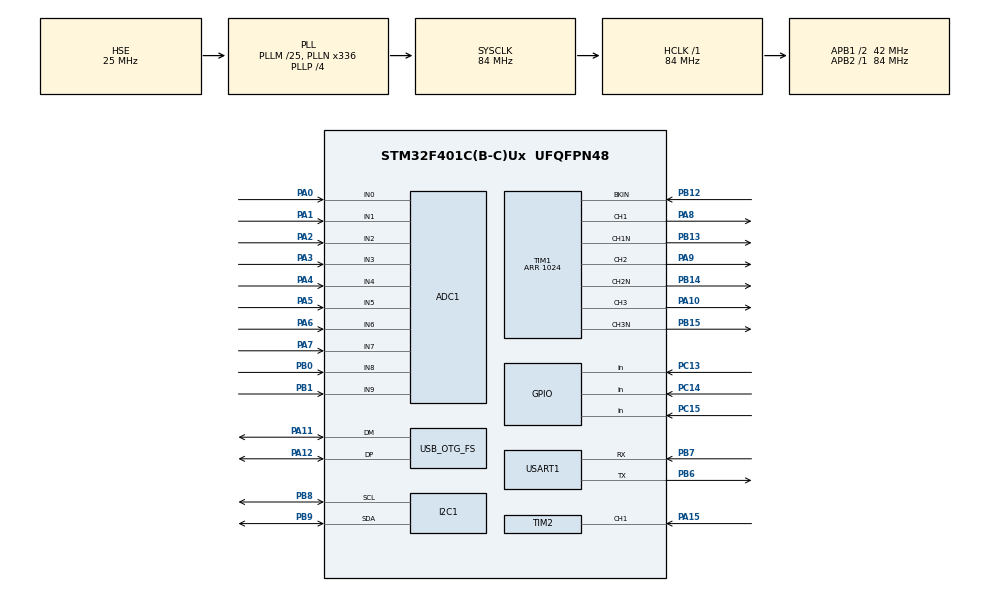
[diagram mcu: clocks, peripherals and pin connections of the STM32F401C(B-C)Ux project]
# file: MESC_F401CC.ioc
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ADC1.Channel-0\#ChannelRegularConversion=ADC_CHANNEL_5
ADC1.Channel-1\#ChannelInjectedConversion=ADC_CHANNEL_2
ADC1.Channel-2\#ChannelInjectedConversion=ADC_CHANNEL_3
ADC1.Channel-3\#ChannelInjectedConversion=ADC_CHANNEL_4
ADC1.Channel-4\#ChannelInjectedConversion=ADC_CHANNEL_1
ADC1.Channel-5\#ChannelRegularConversion=ADC_CHANNEL_6
ADC1.Channel-6\#ChannelRegularConversion=ADC_CHANNEL_8
ADC1.Channel-7\#ChannelRegularConversion=ADC_CHANNEL_0
ADC1.Channel-8\#ChannelRegularConversion=ADC_CHANNEL_8
ADC1.Channel-9\#ChannelRegularConversion=ADC_CHANNEL_9
ADC1.DMAContinuousRequests=ENABLE
ADC1.EOCSelection=ADC_EOC_SEQ_CONV
ADC1.EnableAnalogWatchDog=true
ADC1.ExternalTrigConv=ADC_SOFTWARE_START
ADC1.ExternalTrigInjecConv=ADC_EXTERNALTRIGINJECCONV_T1_TRGO
ADC1.ExternalTrigInjecConvEdge=ADC_EXTERNALTRIGINJECCONVEDGE_FALLING
ADC1.HighThreshold=4000
ADC1.ITMode=ENABLE
ADC1.InjNumberOfConversion=4
ADC1.InjectedOffset-1\#ChannelInjectedConversion=0
ADC1.InjectedOffset-2\#ChannelInjectedConversion=0
ADC1.InjectedOffset-3\#ChannelInjectedConversion=0
ADC1.InjectedOffset-4\#ChannelInjectedConversion=0
ADC1.InjectedRank-1\#ChannelInjectedConversion=1
ADC1.InjectedRank-2\#ChannelInjectedConversion=2
ADC1.InjectedRank-3\#ChannelInjectedConversion=3
ADC1.InjectedRank-4\#ChannelInjectedConversion=4
ADC1.LowThreshold=0
ADC1.NbrOfConversion=6
ADC1.NbrOfConversionFlag=1
ADC1.Rank-0\#ChannelRegularConversion=1
ADC1.Rank-5\#ChannelRegularConversion=2
ADC1.Rank-6\#ChannelRegularConversion=3
ADC1.Rank-7\#ChannelRegularConversion=4
ADC1.Rank-8\#ChannelRegularConversion=5
ADC1.Rank-9\#ChannelRegularConversion=6
ADC1.SamplingTime-0\#ChannelRegularConversion=ADC_SAMPLETIME_15CYCLES
ADC1.SamplingTime-1\#ChannelInjectedConversion=ADC_SAMPLETIME_3CYCLES
ADC1.SamplingTime-2\#ChannelInjectedConversion=ADC_SAMPLETIME_3CYCLES
ADC1.SamplingTime-3\#ChannelInjectedConversion=ADC_SAMPLETIME_3CYCLES
ADC1.SamplingTime-4\#ChannelInjectedConversion=ADC_SAMPLETIME_15CYCLES
ADC1.SamplingTime-5\#ChannelRegularConversion=ADC_SAMPLETIME_15CYCLES
ADC1.SamplingTime-6\#ChannelRegularConversion=ADC_SAMPLETIME_15CYCLES
ADC1.SamplingTime-7\#ChannelRegularConversion=ADC_SAMPLETIME_15CYCLES
ADC1.SamplingTime-8\#ChannelRegularConversion=ADC_SAMPLETIME_15CYCLES
ADC1.SamplingTime-9\#ChannelRegularConversion=ADC_SAMPLETIME_15CYCLES
ADC1.ScanConvMode=ENABLE
ADC1.WatchdogMode=ADC_ANALOGWATCHDOG_ALL_INJEC
ADC1.master=1
Dma.ADC1.0.Direction=DMA_PERIPH_TO_MEMORY
Dma.ADC1.0.FIFOMode=DMA_FIFOMODE_DISABLE
Dma.ADC1.0.Instance=DMA2_Stream0
Dma.ADC1.0.MemDataAlignment=DMA_MDATAALIGN_WORD
Dma.ADC1.0.MemInc=DMA_MINC_ENABLE
Dma.ADC1.0.Mode=DMA_CIRCULAR
Dma.ADC1.0.PeriphDataAlignment=DMA_PDATAALIGN_WORD
Dma.ADC1.0.PeriphInc=DMA_PINC_DISABLE
Dma.ADC1.0.Priority=DMA_PRIORITY_LOW
Dma.Request0=ADC1
Dma.Request1=USART1_TX
Dma.USART1_TX.1.Direction=DMA_MEMORY_TO_PERIPH
Dma.USART1_TX.1.FIFOMode=DMA_FIFOMODE_DISABLE
Dma.USART1_TX.1.Instance=DMA2_Stream7
Dma.USART1_TX.1.MemDataAlignment=DMA_MDATAALIGN_BYTE
Dma.USART1_TX.1.MemInc=DMA_MINC_ENABLE
Dma.USART1_TX.1.Mode=DMA_NORMAL
Dma.USART1_TX.1.PeriphDataAlignment=DMA_PDATAALIGN_BYTE
Dma.USART1_TX.1.PeriphInc=DMA_PINC_DISABLE
Dma.USART1_TX.1.Priority=DMA_PRIORITY_LOW
FREERTOS.Tasks01=defaultTask,24,128,StartDefaultTask,Default,NULL,Dynamic,NULL,NULL
FREERTOS.configENABLE_FPU=1
FREERTOS.configTOTAL_HEAP_SIZE=32768
FREERTOS.configUSE_NEWLIB_REENTRANT=1
Mcu.Family=STM32F4
Mcu.Name=STM32F401C(B-C)Ux
Mcu.Package=UFQFPN48
NVIC.ADC_IRQn=true\:5\:0\:false\:false\:true\:true\:true\:false\:true
NVIC.OTG_FS_IRQn=true\:5\:0\:true\:false\:true\:true\:false\:true\:true
NVIC.PriorityGroup=NVIC_PRIORITYGROUP_4
NVIC.TIM1_BRK_TIM9_IRQn=true\:15\:0\:false\:false\:true\:false\:false\:true\:true
NVIC.TIM1_UP_TIM10_IRQn=true\:1\:0\:true\:false\:true\:false\:true\:false\:true
NVIC.TIM2_IRQn=true\:2\:0\:true\:false\:true\:false\:true\:true\:true
NVIC.TimeBase=TIM1_BRK_TIM9_IRQn
NVIC.TimeBaseIP=TIM9
NVIC.USART1_IRQn=true\:5\:0\:true\:false\:true\:true\:true\:false\:true
PA0-WKUP.Signal=ADCx_IN0
PA1.Signal=ADCx_IN1
PA10.Signal=S_TIM1_CH3
PA11.Mode=Device_Only
PA11.Signal=USB_OTG_FS_DM
PA12.Mode=Device_Only
PA12.Signal=USB_OTG_FS_DP
PA13.Mode=Serial_Wire
PA13.Signal=SYS_JTMS-SWDIO
PA14.Mode=Serial_Wire
PA14.Signal=SYS_JTCK-SWCLK
PA15.Signal=S_TIM2_CH1_ETR
PA2.Signal=ADCx_IN2
PA3.Signal=ADCx_IN3
PA4.Signal=ADCx_IN4
PA5.Signal=ADCx_IN5
PA6.Signal=ADCx_IN6
PA7.Signal=ADCx_IN7
PA8.Signal=S_TIM1_CH1
PA9.Signal=S_TIM1_CH2
PB0.Signal=ADCx_IN8
PB1.Signal=ADCx_IN9
PB12.Mode=Activate-Break-Input
PB12.Signal=TIM1_BKIN
PB13.Mode=PWM Generation1 CH1 CH1N
PB13.Signal=TIM1_CH1N
PB14.Mode=PWM Generation2 CH2 CH2N
PB14.Signal=TIM1_CH2N
PB15.Mode=PWM Generation3 CH3 CH3N
PB15.Signal=TIM1_CH3N
PB6.Mode=Asynchronous
PB6.Signal=USART1_TX
PB7.Mode=Asynchronous
PB7.Signal=USART1_RX
PB8.Mode=I2C
PB8.Signal=I2C1_SCL
PB9.Mode=I2C
PB9.Signal=I2C1_SDA
PC13-ANTI_TAMP.GPIO_PuPd=GPIO_PULLUP
PC13-ANTI_TAMP.Signal=GPIO_Input
PC14-OSC32_IN.GPIO_PuPd=GPIO_PULLUP
PC14-OSC32_IN.Signal=GPIO_Input
PC15-OSC32_OUT.GPIO_PuPd=GPIO_PULLUP
PC15-OSC32_OUT.Signal=GPIO_Input
PH0\ -\ OSC_IN.Mode=HSE-External-Oscillator
PH0\ -\ OSC_IN.Signal=RCC_OSC_IN
PH1\ -\ OSC_OUT.Mode=HSE-External-Oscillator
PH1\ -\ OSC_OUT.Signal=RCC_OSC_OUT
ProjectManager.HeapSize=0x200
ProjectManager.StackSize=0x400
ProjectManager.TargetToolchain=STM32CubeIDE
RCC.48MHZClocksFreq_Value=48000000
RCC.AHBFreq_Value=84000000
RCC.APB1CLKDivider=RCC_HCLK_DIV2
RCC.APB1Freq_Value=42000000
RCC.APB1TimFreq_Value=84000000
RCC.APB2Freq_Value=84000000
RCC.APB2TimFreq_Value=84000000
RCC.CortexFreq_Value=84000000
RCC.HCLKFreq_Value=84000000
RCC.HSE_VALUE=25000000
RCC.HSI_VALUE=16000000
RCC.LSE_VALUE=32768
RCC.PLLM=25
RCC.PLLN=336
RCC.PLLP=RCC_PLLP_DIV4
RCC.PLLQ=7
RCC.SYSCLKFreq_VALUE=84000000
RCC.SYSCLKSource=RCC_SYSCLKSOURCE_PLLCLK
RCC.VCOOutputFreq_Value=336000000
SH.ADCx_IN0.0=ADC1_IN0,IN0
SH.ADCx_IN1.0=ADC1_IN1,IN1
SH.ADCx_IN2.0=ADC1_IN2,IN2
SH.ADCx_IN3.0=ADC1_IN3,IN3
SH.ADCx_IN4.0=ADC1_IN4,IN4
SH.ADCx_IN5.0=ADC1_IN5,IN5
SH.ADCx_IN6.0=ADC1_IN6,IN6
SH.ADCx_IN7.0=ADC1_IN7,IN7
SH.ADCx_IN8.0=ADC1_IN8,IN8
SH.ADCx_IN9.0=ADC1_IN9,IN9
SH.S_TIM1_CH1.0=TIM1_CH1,PWM Generation1 CH1 CH1N
SH.S_TIM1_CH2.0=TIM1_CH2,PWM Generation2 CH2 CH2N
SH.S_TIM1_CH3.0=TIM1_CH3,PWM Generation3 CH3 CH3N
SH.S_TIM2_CH1_ETR.0=TIM2_CH1,Input_Capture1_from_TI1
SH.S_TIM2_CH1_ETR.1=TIM2_CH1,TriggerSource_TI1FP1
TIM1.BreakPolarity=TIM_BREAKPOLARITY_LOW
TIM1.Channel-PWM\ Generation1\ CH1\ CH1N=TIM_CHANNEL_1
TIM1.Channel-PWM\ Generation2\ CH2\ CH2N=TIM_CHANNEL_2
TIM1.Channel-PWM\ Generation3\ CH3\ CH3N=TIM_CHANNEL_3
TIM1.Channel-PWM\ Generation4\ No\ Output=TIM_CHANNEL_4
TIM1.CounterMode=TIM_COUNTERMODE_CENTERALIGNED1
TIM1.DeadTime=80
TIM1.Period=1024
TIM1.Pulse-PWM\ Generation1\ CH1\ CH1N=512
TIM1.Pulse-PWM\ Generation2\ CH2\ CH2N=512
TIM1.Pulse-PWM\ Generation3\ CH3\ CH3N=512
TIM1.Pulse-PWM\ Generation4\ No\ Output=1023
TIM1.TIM_MasterOutputTrigger=TIM_TRGO_OC4REF
TIM2.Channel-Input_Capture1_from_TI1=TIM_CHANNEL_1
TIM2.Channel-Input_Capture2_from_TI1_63=TIM_CHANNEL_2
TIM2.ICPolarity_CH2=TIM_INPUTCHANNELPOLARITY_FALLING
TIM2.Period=50000
TIM2.Prescaler=83
USART1.VirtualMode=VM_ASYNC
USB_DEVICE.CLASS_NAME_FS=CDC
USB_DEVICE.VirtualMode=Cdc
USB_DEVICE.VirtualModeFS=Cdc_FS
USB_OTG_FS.VirtualMode=Device_Only
VP_FREERTOS_VS_CMSIS_V2.Mode=CMSIS_V2
VP_SYS_VS_tim9.Mode=TIM9
VP_TIM10_VS_ClockSourceINT.Mode=Enable_Timer
VP_TIM1_VS_no_output4.Mode=PWM Generation4 No Output
VP_TIM2_VS_ControllerModeReset.Mode=Reset Mode
VP_TIM2_VS_indirect_ch1.Mode=Input_Capture2_from_TI1_63
VP_USB_DEVICE_VS_USB_DEVICE_CDC_FS.Mode=CDC_FS
board=custom

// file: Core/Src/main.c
/* USER CODE BEGIN Header */
/**
  ******************************************************************************
  * @file           : main.c
  * @brief          : Main program body
  ******************************************************************************
  * @attention
  *
  * Copyright (c) 2022 STMicroelectronics.
  * All rights reserved.
  *
  * This software is licensed under terms that can be found in the LICENSE file
  * in the root directory of this software component.
  * If no LICENSE file comes with this software, it is provided AS-IS.
  *
  ******************************************************************************
  */
/* USER CODE END Header */
#include "main.h"
#include "cmsis_os.h"
#include "usb_device.h"

/* USER CODE BEGIN Includes */
#include "MESCmotor.h"
#include "MESCprofile.h"

#ifdef RTOS
#include "init.h"
#endif
/* USER CODE END Includes */

 ADC_HandleTypeDef hadc1;
DMA_HandleTypeDef hdma_adc1;

I2C_HandleTypeDef hi2c1;

TIM_HandleTypeDef htim1;
TIM_HandleTypeDef htim2;
TIM_HandleTypeDef htim10;

UART_HandleTypeDef huart1;
DMA_HandleTypeDef hdma_usart1_tx;

/* Definitions for defaultTask */
osThreadId_t defaultTaskHandle;
const osThreadAttr_t defaultTask_attributes = {
  .name = "defaultTask",
  .stack_size = 128 * 4,
  .priority = (osPriority_t) osPriorityNormal,
};

void SystemClock_Config(void);
static void MX_GPIO_Init(void);
static void MX_DMA_Init(void);
static void MX_ADC1_Init(void);
static void MX_TIM1_Init(void);
static void MX_TIM2_Init(void);
static void MX_USART1_UART_Init(void);
static void MX_TIM10_Init(void);
static void MX_I2C1_Init(void);
void StartDefaultTask(void *argument);

int main(void)
{

  /* MCU Configuration--------------------------------------------------------*/

  /* Reset of all peripherals, Initializes the Flash interface and the Systick. */
  HAL_Init();

  /* Configure the system clock */
  SystemClock_Config();

  /* Initialize all configured peripherals */
  MX_GPIO_Init();
  MX_DMA_Init();
  MX_ADC1_Init();
  MX_TIM1_Init();
  MX_TIM2_Init();
  MX_USART1_UART_Init();
  MX_TIM10_Init();
  MX_I2C1_Init();
  /* USER CODE BEGIN 2 */
  //Set up the input capture for throttle
  HAL_TIM_IC_Start(&htim2, TIM_CHANNEL_1);
  HAL_TIM_IC_Start(&htim2, TIM_CHANNEL_2);
  __HAL_TIM_ENABLE_IT(&htim2, TIM_IT_UPDATE);
  // Here we can auto set the prescaler to get the us input regardless of the main clock
  __HAL_TIM_SET_PRESCALER(&htim2, (HAL_RCC_GetHCLKFreq() / 1000000 - 1));

  // Attach flash IO to profile
  flash_register_profile_io();
  // Load stored profile
  ProfileStatus const sts = profile_init();
  motor_init( PROFILE_DEFAULT );

//Initialise MESC
MESCInit();
//motor_init(NULL);
//motor.Rphase = DEFAULT_MOTOR_R;
//motor.Lphase = DEFAULT_MOTOR_Ld;
//motor.Lqphase = DEFAULT_MOTOR_Lq;
//motor.motor_flux = DEFAULT_FLUX_LINKAGE;
//motor.measure_current = I_MEASURE;
//motor.measure_voltage = V_MEASURE;
////motor_profile->Pmax = 50.0f;
//motor.uncertainty = 1;

calculateGains();
calculateVoltageGain();
MotorControlType = MOTOR_CONTROL_TYPE_FOC;

  /* USER CODE END 2 */

  /* Init scheduler */
  osKernelInitialize();

  /* Create the thread(s) */
  /* creation of defaultTask */
  defaultTaskHandle = osThreadNew(StartDefaultTask, NULL, &defaultTask_attributes);

  /* USER CODE BEGIN RTOS_THREADS */
  /* add threads, ... */
#ifdef RTOS
  init_system();
#endif

  /* USER CODE END RTOS_THREADS */

  /* Start scheduler */
  osKernelStart();

  /* We should never get here as control is now taken by the scheduler */
  /* Infinite loop */
  while (1)
  {

  }
}

void SystemClock_Config(void)
{
  RCC_OscInitTypeDef RCC_OscInitStruct = {0};
  RCC_ClkInitTypeDef RCC_ClkInitStruct = {0};

  /** Configure the main internal regulator output voltage
  */
  __HAL_RCC_PWR_CLK_ENABLE();
  __HAL_PWR_VOLTAGESCALING_CONFIG(PWR_REGULATOR_VOLTAGE_SCALE2);

  /** Initializes the RCC Oscillators according to the specified parameters
  * in the RCC_OscInitTypeDef structure.
  */
  RCC_OscInitStruct.OscillatorType = RCC_OSCILLATORTYPE_HSE;
  RCC_OscInitStruct.HSEState = RCC_HSE_ON;
  RCC_OscInitStruct.PLL.PLLState = RCC_PLL_ON;
  RCC_OscInitStruct.PLL.PLLSource = RCC_PLLSOURCE_HSE;
  RCC_OscInitStruct.PLL.PLLM = 25;
  RCC_OscInitStruct.PLL.PLLN = 336;
  RCC_OscInitStruct.PLL.PLLP = RCC_PLLP_DIV4;
  RCC_OscInitStruct.PLL.PLLQ = 7;
  if (HAL_RCC_OscConfig(&RCC_OscInitStruct) != HAL_OK)
  {
    Error_Handler();
  }

  /** Initializes the CPU, AHB and APB buses clocks
  */
  RCC_ClkInitStruct.ClockType = RCC_CLOCKTYPE_HCLK|RCC_CLOCKTYPE_SYSCLK
                              |RCC_CLOCKTYPE_PCLK1|RCC_CLOCKTYPE_PCLK2;
  RCC_ClkInitStruct.SYSCLKSource = RCC_SYSCLKSOURCE_PLLCLK;
  RCC_ClkInitStruct.AHBCLKDivider = RCC_SYSCLK_DIV1;
  RCC_ClkInitStruct.APB1CLKDivider = RCC_HCLK_DIV2;
  RCC_ClkInitStruct.APB2CLKDivider = RCC_HCLK_DIV1;

  if (HAL_RCC_ClockConfig(&RCC_ClkInitStruct, FLASH_LATENCY_2) != HAL_OK)
  {
    Error_Handler();
  }
}

static void MX_ADC1_Init(void)
{

  ADC_AnalogWDGConfTypeDef AnalogWDGConfig = {0};
  ADC_ChannelConfTypeDef sConfig = {0};
  ADC_InjectionConfTypeDef sConfigInjected = {0};

  /** Configure the global features of the ADC (Clock, Resolution, Data Alignment and number of conversion)
  */
  hadc1.Instance = ADC1;
  hadc1.Init.ClockPrescaler = ADC_CLOCK_SYNC_PCLK_DIV4;
  hadc1.Init.Resolution = ADC_RESOLUTION_12B;
  hadc1.Init.ScanConvMode = ENABLE;
  hadc1.Init.ContinuousConvMode = DISABLE;
  hadc1.Init.DiscontinuousConvMode = DISABLE;
  hadc1.Init.ExternalTrigConvEdge = ADC_EXTERNALTRIGCONVEDGE_NONE;
  hadc1.Init.ExternalTrigConv = ADC_SOFTWARE_START;
  hadc1.Init.DataAlign = ADC_DATAALIGN_RIGHT;
  hadc1.Init.NbrOfConversion = 6;
  hadc1.Init.DMAContinuousRequests = ENABLE;
  hadc1.Init.EOCSelection = ADC_EOC_SEQ_CONV;
  if (HAL_ADC_Init(&hadc1) != HAL_OK)
  {
    Error_Handler();
  }

  /** Configure the analog watchdog
  */
  AnalogWDGConfig.WatchdogMode = ADC_ANALOGWATCHDOG_ALL_INJEC;
  AnalogWDGConfig.HighThreshold = 4000;
  AnalogWDGConfig.LowThreshold = 0;
  AnalogWDGConfig.ITMode = ENABLE;
  if (HAL_ADC_AnalogWDGConfig(&hadc1, &AnalogWDGConfig) != HAL_OK)
  {
    Error_Handler();
  }

  /** Configure for the selected ADC regular channel its corresponding rank in the sequencer and its sample time.
  */
  sConfig.Channel = ADC_CHANNEL_5;
  sConfig.Rank = 1;
  sConfig.SamplingTime = ADC_SAMPLETIME_15CYCLES;
  if (HAL_ADC_ConfigChannel(&hadc1, &sConfig) != HAL_OK)
  {
    Error_Handler();
  }

  /** Configure for the selected ADC regular channel its corresponding rank in the sequencer and its sample time.
  */
  sConfig.Channel = ADC_CHANNEL_6;
  sConfig.Rank = 2;
  if (HAL_ADC_ConfigChannel(&hadc1, &sConfig) != HAL_OK)
  {
    Error_Handler();
  }

  /** Configure for the selected ADC regular channel its corresponding rank in the sequencer and its sample time.
  */
  sConfig.Channel = ADC_CHANNEL_8;
  sConfig.Rank = 3;
  if (HAL_ADC_ConfigChannel(&hadc1, &sConfig) != HAL_OK)
  {
    Error_Handler();
  }

  /** Configure for the selected ADC regular channel its corresponding rank in the sequencer and its sample time.
  */
  sConfig.Channel = ADC_CHANNEL_0;
  sConfig.Rank = 4;
  if (HAL_ADC_ConfigChannel(&hadc1, &sConfig) != HAL_OK)
  {
    Error_Handler();
  }

  /** Configure for the selected ADC regular channel its corresponding rank in the sequencer and its sample time.
  */
  sConfig.Channel = ADC_CHANNEL_8;
  sConfig.Rank = 5;
  if (HAL_ADC_ConfigChannel(&hadc1, &sConfig) != HAL_OK)
  {
    Error_Handler();
  }

  /** Configure for the selected ADC regular channel its corresponding rank in the sequencer and its sample time.
  */
  sConfig.Channel = ADC_CHANNEL_9;
  sConfig.Rank = 6;
  if (HAL_ADC_ConfigChannel(&hadc1, &sConfig) != HAL_OK)
  {
    Error_Handler();
  }

  /** Configures for the selected ADC injected channel its corresponding rank in the sequencer and its sample time
  */
  sConfigInjected.InjectedChannel = ADC_CHANNEL_2;
  sConfigInjected.InjectedRank = 1;
  sConfigInjected.InjectedNbrOfConversion = 4;
  sConfigInjected.InjectedSamplingTime = ADC_SAMPLETIME_3CYCLES;
  sConfigInjected.ExternalTrigInjecConvEdge = ADC_EXTERNALTRIGINJECCONVEDGE_FALLING;
  sConfigInjected.ExternalTrigInjecConv = ADC_EXTERNALTRIGINJECCONV_T1_TRGO;
  sConfigInjected.AutoInjectedConv = DISABLE;
  sConfigInjected.InjectedDiscontinuousConvMode = DISABLE;
  sConfigInjected.InjectedOffset = 0;
  if (HAL_ADCEx_InjectedConfigChannel(&hadc1, &sConfigInjected) != HAL_OK)
  {
    Error_Handler();
  }

  /** Configures for the selected ADC injected channel its corresponding rank in the sequencer and its sample time
  */
  sConfigInjected.InjectedChannel = ADC_CHANNEL_3;
  sConfigInjected.InjectedRank = 2;
  if (HAL_ADCEx_InjectedConfigChannel(&hadc1, &sConfigInjected) != HAL_OK)
  {
    Error_Handler();
  }

  /** Configures for the selected ADC injected channel its corresponding rank in the sequencer and its sample time
  */
  sConfigInjected.InjectedChannel = ADC_CHANNEL_4;
  sConfigInjected.InjectedRank = 3;
  if (HAL_ADCEx_InjectedConfigChannel(&hadc1, &sConfigInjected) != HAL_OK)
  {
    Error_Handler();
  }

  /** Configures for the selected ADC injected channel its corresponding rank in the sequencer and its sample time
  */
  sConfigInjected.InjectedChannel = ADC_CHANNEL_1;
  sConfigInjected.InjectedRank = 4;
  sConfigInjected.InjectedSamplingTime = ADC_SAMPLETIME_15CYCLES;
  if (HAL_ADCEx_InjectedConfigChannel(&hadc1, &sConfigInjected) != HAL_OK)
  {
    Error_Handler();
  }

}

static void MX_I2C1_Init(void)
{

  hi2c1.Instance = I2C1;
  hi2c1.Init.ClockSpeed = 100000;
  hi2c1.Init.DutyCycle = I2C_DUTYCYCLE_2;
  hi2c1.Init.OwnAddress1 = 0;
  hi2c1.Init.AddressingMode = I2C_ADDRESSINGMODE_7BIT;
  hi2c1.Init.DualAddressMode = I2C_DUALADDRESS_DISABLE;
  hi2c1.Init.OwnAddress2 = 0;
  hi2c1.Init.GeneralCallMode = I2C_GENERALCALL_DISABLE;
  hi2c1.Init.NoStretchMode = I2C_NOSTRETCH_DISABLE;
  if (HAL_I2C_Init(&hi2c1) != HAL_OK)
  {
    Error_Handler();
  }

}

static void MX_TIM1_Init(void)
{

  TIM_MasterConfigTypeDef sMasterConfig = {0};
  TIM_OC_InitTypeDef sConfigOC = {0};
  TIM_BreakDeadTimeConfigTypeDef sBreakDeadTimeConfig = {0};

  htim1.Instance = TIM1;
  htim1.Init.Prescaler = 0;
  htim1.Init.CounterMode = TIM_COUNTERMODE_CENTERALIGNED1;
  htim1.Init.Period = 1024;
  htim1.Init.ClockDivision = TIM_CLOCKDIVISION_DIV1;
  htim1.Init.RepetitionCounter = 0;
  htim1.Init.AutoReloadPreload = TIM_AUTORELOAD_PRELOAD_DISABLE;
  if (HAL_TIM_PWM_Init(&htim1) != HAL_OK)
  {
    Error_Handler();
  }
  sMasterConfig.MasterOutputTrigger = TIM_TRGO_OC4REF;
  sMasterConfig.MasterSlaveMode = TIM_MASTERSLAVEMODE_DISABLE;
  if (HAL_TIMEx_MasterConfigSynchronization(&htim1, &sMasterConfig) != HAL_OK)
  {
    Error_Handler();
  }
  sConfigOC.OCMode = TIM_OCMODE_PWM1;
  sConfigOC.Pulse = 512;
  sConfigOC.OCPolarity = TIM_OCPOLARITY_HIGH;
  sConfigOC.OCNPolarity = TIM_OCNPOLARITY_HIGH;
  sConfigOC.OCFastMode = TIM_OCFAST_DISABLE;
  sConfigOC.OCIdleState = TIM_OCIDLESTATE_RESET;
  sConfigOC.OCNIdleState = TIM_OCNIDLESTATE_RESET;
  if (HAL_TIM_PWM_ConfigChannel(&htim1, &sConfigOC, TIM_CHANNEL_1) != HAL_OK)
  {
    Error_Handler();
  }
  if (HAL_TIM_PWM_ConfigChannel(&htim1, &sConfigOC, TIM_CHANNEL_2) != HAL_OK)
  {
    Error_Handler();
  }
  if (HAL_TIM_PWM_ConfigChannel(&htim1, &sConfigOC, TIM_CHANNEL_3) != HAL_OK)
  {
    Error_Handler();
  }
  sConfigOC.Pulse = 1023;
  if (HAL_TIM_PWM_ConfigChannel(&htim1, &sConfigOC, TIM_CHANNEL_4) != HAL_OK)
  {
    Error_Handler();
  }
  sBreakDeadTimeConfig.OffStateRunMode = TIM_OSSR_DISABLE;
  sBreakDeadTimeConfig.OffStateIDLEMode = TIM_OSSI_DISABLE;
  sBreakDeadTimeConfig.LockLevel = TIM_LOCKLEVEL_OFF;
  sBreakDeadTimeConfig.DeadTime = 80;
  sBreakDeadTimeConfig.BreakState = TIM_BREAK_ENABLE;
  sBreakDeadTimeConfig.BreakPolarity = TIM_BREAKPOLARITY_LOW;
  sBreakDeadTimeConfig.AutomaticOutput = TIM_AUTOMATICOUTPUT_DISABLE;
  if (HAL_TIMEx_ConfigBreakDeadTime(&htim1, &sBreakDeadTimeConfig) != HAL_OK)
  {
    Error_Handler();
  }
  HAL_TIM_MspPostInit(&htim1);

}

static void MX_TIM2_Init(void)
{

  TIM_SlaveConfigTypeDef sSlaveConfig = {0};
  TIM_MasterConfigTypeDef sMasterConfig = {0};
  TIM_IC_InitTypeDef sConfigIC = {0};

  htim2.Instance = TIM2;
  htim2.Init.Prescaler = 83;
  htim2.Init.CounterMode = TIM_COUNTERMODE_UP;
  htim2.Init.Period = 50000;
  htim2.Init.ClockDivision = TIM_CLOCKDIVISION_DIV1;
  htim2.Init.AutoReloadPreload = TIM_AUTORELOAD_PRELOAD_DISABLE;
  if (HAL_TIM_Base_Init(&htim2) != HAL_OK)
  {
    Error_Handler();
  }
  if (HAL_TIM_IC_Init(&htim2) != HAL_OK)
  {
    Error_Handler();
  }
  sSlaveConfig.SlaveMode = TIM_SLAVEMODE_RESET;
  sSlaveConfig.InputTrigger = TIM_TS_TI1FP1;
  sSlaveConfig.TriggerPolarity = TIM_INPUTCHANNELPOLARITY_RISING;
  sSlaveConfig.TriggerFilter = 0;
  if (HAL_TIM_SlaveConfigSynchro(&htim2, &sSlaveConfig) != HAL_OK)
  {
    Error_Handler();
  }
  sMasterConfig.MasterOutputTrigger = TIM_TRGO_RESET;
  sMasterConfig.MasterSlaveMode = TIM_MASTERSLAVEMODE_DISABLE;
  if (HAL_TIMEx_MasterConfigSynchronization(&htim2, &sMasterConfig) != HAL_OK)
  {
    Error_Handler();
  }
  sConfigIC.ICPolarity = TIM_INPUTCHANNELPOLARITY_RISING;
  sConfigIC.ICSelection = TIM_ICSELECTION_DIRECTTI;
  sConfigIC.ICPrescaler = TIM_ICPSC_DIV1;
  sConfigIC.ICFilter = 0;
  if (HAL_TIM_IC_ConfigChannel(&htim2, &sConfigIC, TIM_CHANNEL_1) != HAL_OK)
  {
    Error_Handler();
  }
  sConfigIC.ICPolarity = TIM_INPUTCHANNELPOLARITY_FALLING;
  sConfigIC.ICSelection = TIM_ICSELECTION_INDIRECTTI;
  if (HAL_TIM_IC_ConfigChannel(&htim2, &sConfigIC, TIM_CHANNEL_2) != HAL_OK)
  {
    Error_Handler();
  }

}

static void MX_TIM10_Init(void)
{

  htim10.Instance = TIM10;
  htim10.Init.Prescaler = 0;
  htim10.Init.CounterMode = TIM_COUNTERMODE_UP;
  htim10.Init.Period = 65535;
  htim10.Init.ClockDivision = TIM_CLOCKDIVISION_DIV1;
  htim10.Init.AutoReloadPreload = TIM_AUTORELOAD_PRELOAD_DISABLE;
  if (HAL_TIM_Base_Init(&htim10) != HAL_OK)
  {
    Error_Handler();
  }

}

static void MX_USART1_UART_Init(void)
{

  huart1.Instance = USART1;
  huart1.Init.BaudRate = 115200;
  huart1.Init.WordLength = UART_WORDLENGTH_8B;
  huart1.Init.StopBits = UART_STOPBITS_1;
  huart1.Init.Parity = UART_PARITY_NONE;
  huart1.Init.Mode = UART_MODE_TX_RX;
  huart1.Init.HwFlowCtl = UART_HWCONTROL_NONE;
  huart1.Init.OverSampling = UART_OVERSAMPLING_16;
  if (HAL_UART_Init(&huart1) != HAL_OK)
  {
    Error_Handler();
  }

}

static void MX_DMA_Init(void)
{

  /* DMA controller clock enable */
  __HAL_RCC_DMA2_CLK_ENABLE();

}

static void MX_GPIO_Init(void)
{
  GPIO_InitTypeDef GPIO_InitStruct = {0};

  /* GPIO Ports Clock Enable */
  __HAL_RCC_GPIOC_CLK_ENABLE();
  __HAL_RCC_GPIOH_CLK_ENABLE();
  __HAL_RCC_GPIOA_CLK_ENABLE();
  __HAL_RCC_GPIOB_CLK_ENABLE();

  /*Configure GPIO pins : PC13 PC14 PC15 */
  GPIO_InitStruct.Pin = GPIO_PIN_13|GPIO_PIN_14|GPIO_PIN_15;
  GPIO_InitStruct.Mode = GPIO_MODE_INPUT;
  GPIO_InitStruct.Pull = GPIO_PULLUP;
  HAL_GPIO_Init(GPIOC, &GPIO_InitStruct);

}

void StartDefaultTask(void *argument)
{
  /* init code for USB_DEVICE */
  MX_USB_DEVICE_Init();
  /* USER CODE BEGIN 5 */
  /* Infinite loop */
  for(;;)
  {
    osDelay(1000);
  }
  /* USER CODE END 5 */
}

void HAL_TIM_PeriodElapsedCallback(TIM_HandleTypeDef *htim)
{
  if (htim->Instance == TIM9) {
    HAL_IncTick();
  }
}

void Error_Handler(void)
{
  __disable_irq();
  while (1)
  {
  }
}
